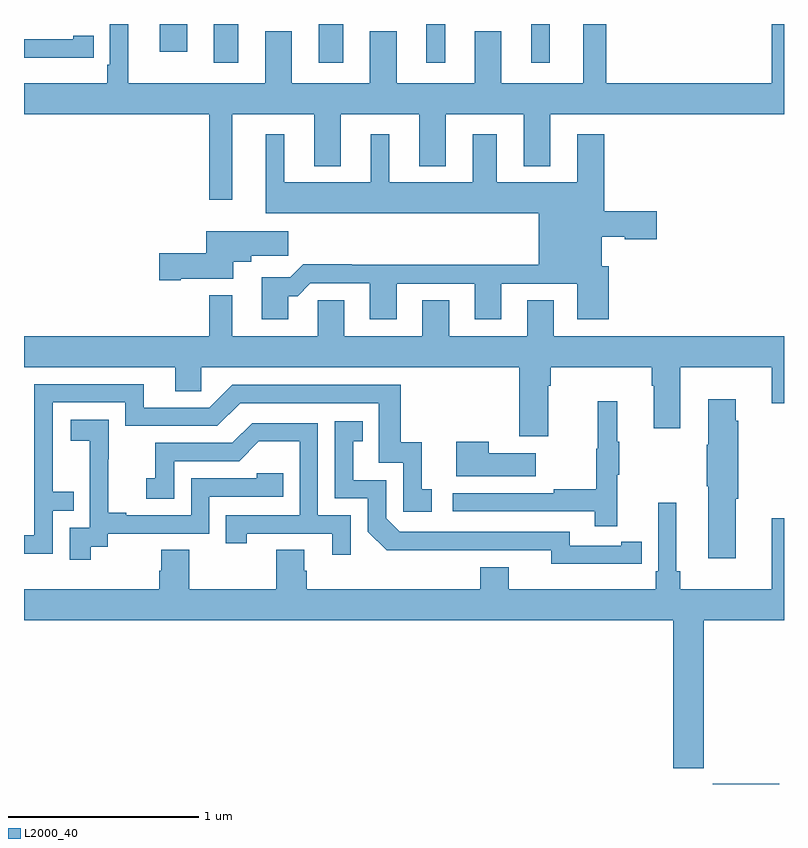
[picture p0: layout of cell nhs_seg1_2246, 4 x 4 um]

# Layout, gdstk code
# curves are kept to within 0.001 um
import gdstk
lib = gdstk.Library(unit=1e-6, precision=1e-09)
def R(c, l, rs):  # rectangles x0, y0, x1, y1
    for r in rs: c.add(gdstk.rectangle(r[:2], r[2:], *l))
def P(c, l, *ps):  # polygons
    for p in ps: c.add(gdstk.Polygon(p, *l))
L2000_40 = (2000, 40)

nhs_seg1_2246 = lib.new_cell('nhs_seg1_2246')
R(nhs_seg1_2246, L2000_40, [(236.624,556.199,236.974,556.201), (233.999,559.995,234.127,560.199), (234.551,559.995,234.679,560.199), (235.118,559.995,235.216,560.199), (235.67,559.995,235.768,560.199), (233.714,560.052,233.86,560.199)])
P(nhs_seg1_2246, L2000_40, [(235.631,559.451),(235.771,559.451),(235.771,559.724),(237,559.724),(237,560.199),(236.936,560.199),(236.936,559.888),(236.065,559.888),(236.065,560.199),(235.943,560.199),(235.943,559.888),(235.513,559.888),(235.513,560.161),(235.373,560.161),(235.373,559.888),(234.961,559.888),(234.961,560.161),(234.821,560.161),(234.821,559.888),(234.409,559.888),(234.409,560.161),(234.269,560.161),(234.269,559.888),(233.548,559.888),(233.548,560.199),(233.451,560.199),(233.451,559.984),(233.438,559.984),(233.438,559.888),(233,559.888),(233,559.724),(233.976,559.724),(233.976,559.275),(234.097,559.275),(234.097,559.724),(234.527,559.724),(234.527,559.451),(234.667,559.451),(234.667,559.724),(235.079,559.724),(235.079,559.451),(235.219,559.451),(235.219,559.724),(235.631,559.724)],
  [(233.258,560.022),(233.366,560.022),(233.366,560.138),(233.258,560.138),(233.258,560.118),(233,560.118),(233,560.021),(233.258,560.021)],
  [(234.391,558.767),(234.44,558.767),(234.507,558.834),(234.821,558.834),(234.821,558.645),(234.961,558.645),(234.961,558.831),(235.373,558.831),(235.373,558.645),(235.513,558.645),(235.513,558.831),(235.913,558.831),(235.913,558.645),(236.078,558.645),(236.078,558.924),(236.041,558.924),(236.041,559.079),(236.161,559.079),(236.161,559.067),(236.329,559.067),(236.329,559.214),(236.054,559.214),(236.054,559.618),(235.913,559.618),(235.913,559.366),(235.489,559.366),(235.489,559.618),(235.361,559.618),(235.361,559.366),(234.922,559.366),(234.922,559.618),(234.824,559.618),(234.824,559.366),(234.37,559.366),(234.37,559.618),(234.272,559.618),(234.272,559.202),(235.709,559.202),(235.709,558.932),(234.725,558.932),(234.725,558.935),(234.47,558.935),(234.4,558.865),(234.251,558.865),(234.251,558.645),(234.391,558.645)],
  [(233.824,558.857),(234.1,558.857),(234.1,558.947),(234.196,558.947),(234.196,558.979),(234.391,558.979),(234.391,559.108),(233.96,559.108),(233.96,558.992),(233.712,558.992),(233.712,558.85),(233.824,558.85)],
  [(235.759,558.296),(235.772,558.296),(235.772,558.392),(236.303,558.392),(236.303,558.296),(236.315,558.296),(236.315,558.072),(236.455,558.072),(236.455,558.392),(236.936,558.392),(236.936,558.204),(237,558.204),(237,558.556),(235.789,558.556),(235.789,558.746),(235.649,558.746),(235.649,558.556),(235.237,558.556),(235.237,558.746),(235.097,558.746),(235.097,558.556),(234.685,558.556),(234.685,558.746),(234.546,558.746),(234.546,558.556),(234.097,558.556),(234.097,558.772),(233.976,558.772),(233.976,558.556),(233,558.556),(233,558.392),(233.795,558.392),(233.795,558.265),(233.934,558.265),(233.934,558.392),(235.607,558.392),(235.607,558.03),(235.759,558.03)],
  [(233.151,557.637),(233.261,557.637),(233.261,557.738),(233.151,557.738),(233.151,558.207),(233.532,558.207),(233.532,558.084),(234.018,558.084),(234.138,558.204),(234.867,558.204),(234.867,557.889),(234.996,557.889),(234.996,557.631),(235.147,557.631),(235.147,557.751),(235.094,557.751),(235.094,557.998),(234.983,557.998),(234.983,558.3),(234.096,558.3),(233.976,558.18),(233.629,558.18),(233.629,558.303),(233.055,558.303),(233.055,557.508),(233,557.508),(233,557.412),(233.151,557.412)],
  [(236.746,557.7),(236.759,557.7),(236.759,558.11),(236.746,558.11),(236.746,558.223),(236.6,558.223),(236.6,557.984),(236.593,557.984),(236.593,557.767),(236.6,557.767),(236.6,557.388),(236.746,557.388)],
  [(236.123,557.827),(236.134,557.827),(236.134,558.001),(236.123,558.001),(236.123,558.214),(236.02,558.214),(236.02,557.964),(236.013,557.964),(236.013,557.75),(235.789,557.75),(235.789,557.73),(235.257,557.73),(235.257,557.634),(236.005,557.634),(236.005,557.556),(236.123,557.556)],
  [(233.35,557.449),(233.442,557.449),(233.442,557.517),(233.976,557.517),(233.976,557.712),(234.365,557.712),(234.365,557.835),(234.225,557.835),(234.225,557.808),(233.88,557.808),(233.88,557.613),(233.539,557.613),(233.539,557.626),(233.444,557.626),(233.444,557.909),(233.445,557.909),(233.445,558.115),(233.247,558.115),(233.247,558.005),(233.345,558.005),(233.345,557.777),(233.346,557.777),(233.346,557.547),(233.241,557.547),(233.241,557.379),(233.35,557.379)],
  [(236.144,557.358),(236.252,557.358),(236.252,557.474),(236.144,557.474),(236.144,557.454),(235.872,557.454),(235.872,557.526),(234.978,557.526),(234.906,557.598),(234.906,557.799),(234.733,557.799),(234.733,558.003),(234.782,558.003),(234.782,558.109),(234.636,558.109),(234.636,557.703),(234.81,557.703),(234.81,557.526),(234.908,557.429),(235.776,557.43),(235.776,557.357)],
  [(234.72,557.613),(234.546,557.613),(234.546,558.099),(234.2,558.099),(234.095,557.994),(233.692,557.994),(233.692,557.809),(233.643,557.809),(233.643,557.7),(233.79,557.7),(233.79,557.898),(234.132,557.898),(234.236,558.002),(234.45,558.002),(234.45,557.613),(234.061,557.613),(234.061,557.466),(234.172,557.466),(234.172,557.517),(234.623,557.517),(234.623,557.406),(234.72,557.406)],
  [(235.693,557.941),(235.445,557.941),(235.445,558.001),(235.274,558.001),(235.274,557.819),(235.693,557.819)],
  [(236.417,556.281),(236.577,556.281),(236.577,557.06),(237,557.06),(237,557.599),(236.936,557.599),(236.936,557.224),(236.453,557.224),(236.453,557.32),(236.434,557.32),(236.434,557.68),(236.337,557.68),(236.337,557.32),(236.324,557.32),(236.324,557.224),(235.552,557.224),(235.552,557.341),(235.4,557.341),(235.4,557.224),(234.488,557.224),(234.488,557.322),(234.475,557.322),(234.475,557.432),(234.328,557.432),(234.328,557.224),(233.871,557.224),(233.871,557.432),(233.723,557.432),(233.723,557.322),(233.711,557.322),(233.711,557.224),(233,557.224),(233,557.06),(236.417,557.06)])

lib.write_gds('nhs_seg1_2246.gds')
